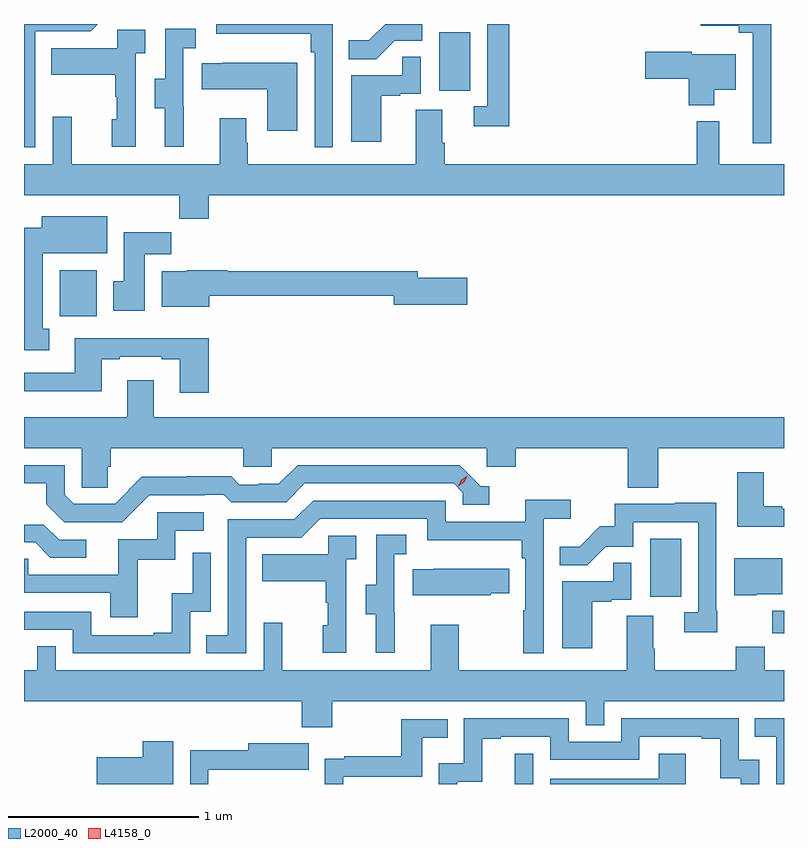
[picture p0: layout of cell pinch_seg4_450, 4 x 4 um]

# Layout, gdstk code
import gdstk
lib = gdstk.Library(unit=1e-6, precision=1e-09)
def R(c, l, rs):  # rectangles x0, y0, x1, y1
    for r in rs: c.add(gdstk.rectangle(r[:2], r[2:], *l))
def P(c, l, *ps):  # polygons
    for p in ps: c.add(gdstk.Polygon(p, *l))
L2000_40 = (2000, 40)
L4158_0 = (4158, 0)

pinch_seg4_450 = lib.new_cell('pinch_seg4_450')
R(pinch_seg4_450, L2000_40, [(914.567,781.733,914.664,781.891), (915.922,782.526,915.983,782.644), (915.278,782.718,915.442,783.025), (912.17,784.196,912.367,784.438), (914.168,785.382,914.332,785.689)])
P(pinch_seg4_450, L2000_40, [(913.608,785.733),(912.996,785.733),(912.996,785.681),(913.492,785.681),(913.492,785.585),(913.512,785.585),(913.512,785.085),(913.608,785.085)],
  [(912.042,785.694),(912.333,785.694),(912.372,785.733),(911.983,785.733),(911.983,785.085),(912.042,785.085)],
  [(915.916,785.733),(915.546,785.733),(915.546,785.723),(915.746,785.723),(915.746,785.687),(915.819,785.687),(915.819,785.106),(915.916,785.106)],
  [(914.537,785.733),(914.421,785.733),(914.421,785.301),(914.349,785.301),(914.349,785.196),(914.537,785.196)],
  [(913.935,785.646),(914.079,785.646),(914.079,785.733),(913.883,785.733),(913.797,785.647),(913.693,785.647),(913.693,785.548),(913.837,785.548)],
  [(912.824,785.301),(912.822,785.301),(912.822,785.605),(912.886,785.605),(912.886,785.708),(912.726,785.708),(912.726,785.445),(912.671,785.445),(912.671,785.29),(912.725,785.29),(912.725,785.088),(912.824,785.088)],
  [(912.57,785.579),(912.622,785.579),(912.622,785.703),(912.474,785.703),(912.474,785.605),(912.127,785.605),(912.127,785.465),(912.462,785.465),(912.462,785.351),(912.472,785.351),(912.472,785.232),(912.446,785.232),(912.446,785.088),(912.57,785.088)],
  [(915.616,785.387),(915.73,785.387),(915.73,785.575),(915.498,785.575),(915.498,785.588),(915.252,785.588),(915.252,785.446),(915.482,785.446),(915.482,785.306),(915.616,785.306)],
  [(913.864,785.355),(913.964,785.355),(913.964,785.367),(914.07,785.367),(914.07,785.561),(913.975,785.561),(913.975,785.463),(913.706,785.463),(913.706,785.112),(913.864,785.112)],
  [(913.42,785.53),(913.027,785.53),(913.027,785.527),(912.919,785.527),(912.919,785.39),(913.262,785.39),(913.262,785.172),(913.42,785.172)],
  [(912.956,784.832),(915.983,784.832),(915.983,784.996),(915.641,784.996),(915.641,785.221),(915.523,785.221),(915.523,784.996),(914.198,784.996),(914.198,785.108),(914.185,785.108),(914.185,785.282),(914.045,785.282),(914.045,784.996),(913.161,784.996),(913.161,785.108),(913.153,785.108),(913.153,785.236),(913.013,785.236),(913.013,784.996),(912.233,784.996),(912.233,785.245),(912.135,785.245),(912.135,784.996),(911.983,784.996),(911.983,784.832),(912.799,784.832),(912.799,784.708),(912.956,784.708)],
  [(912.115,784.13),(912.082,784.13),(912.082,784.526),(912.421,784.526),(912.421,784.72),(912.077,784.72),(912.077,784.66),(911.983,784.66),(911.983,784.017),(912.115,784.017)],
  [(912.619,784.52),(912.758,784.52),(912.758,784.638),(912.509,784.638),(912.509,784.38),(912.452,784.38),(912.452,784.224),(912.619,784.224)],
  [(912.958,784.303),(913.928,784.303),(913.928,784.256),(914.317,784.256),(914.317,784.398),(914.056,784.398),(914.056,784.432),(913.054,784.432),(913.054,784.438),(912.84,784.438),(912.84,784.432),(912.707,784.432),(912.707,784.244),(912.958,784.244)],
  [(912.956,784.078),(912.251,784.078),(912.251,783.897),(911.983,783.897),(911.983,783.8),(912.391,783.8),(912.391,783.969),(912.487,783.969),(912.487,783.981),(912.707,783.981),(912.707,783.969),(912.803,783.969),(912.803,783.792),(912.956,783.792)],
  [(912.425,783.402),(912.44,783.402),(912.44,783.5),(913.137,783.5),(913.137,783.402),(913.287,783.402),(913.287,783.5),(914.418,783.5),(914.418,783.402),(914.57,783.402),(914.57,783.5),(915.161,783.5),(915.161,783.292),(915.321,783.292),(915.321,783.5),(915.983,783.5),(915.983,783.664),(912.667,783.664),(912.667,783.859),(912.527,783.859),(912.527,783.664),(911.983,783.664),(911.983,783.5),(912.288,783.5),(912.288,783.292),(912.425,783.292)],
  [(912.642,783.252),(912.935,783.252),(912.935,783.255),(913.034,783.255),(913.073,783.216),(913.362,783.216),(913.461,783.315),(914.244,783.315),(914.292,783.267),(914.292,783.204),(914.431,783.204),(914.431,783.3),(914.388,783.3),(914.277,783.411),(913.424,783.411),(913.325,783.312),(913.218,783.312),(913.218,783.309),(913.115,783.309),(913.073,783.352),(912.84,783.352),(912.84,783.349),(912.604,783.349),(912.462,783.207),(912.246,783.207),(912.198,783.255),(912.198,783.411),(911.983,783.411),(911.983,783.315),(912.101,783.315),(912.101,783.205),(912.195,783.111),(912.501,783.111)],
  [(915.983,783.183),(915.973,783.183),(915.973,783.196),(915.877,783.196),(915.877,783.373),(915.737,783.373),(915.737,783.086),(915.983,783.086)],
  [(913.152,783.03),(913.443,783.03),(913.542,783.129),(914.106,783.129),(914.106,783.017),(914.602,783.017),(914.602,782.921),(914.622,782.921),(914.622,782.648),(914.61,782.648),(914.61,782.421),(914.718,782.421),(914.718,783.128),(914.86,783.128),(914.86,783.23),(914.621,783.23),(914.621,783.114),(914.202,783.114),(914.202,783.225),(913.505,783.225),(913.406,783.126),(913.056,783.126),(913.056,782.517),(912.943,782.517),(912.943,782.421),(913.152,782.421)],
  [(915.632,782.644),(915.627,782.644),(915.627,783.212),(915.409,783.212),(915.409,783.207),(915.091,783.207),(915.091,783.09),(915.014,783.09),(914.907,782.983),(914.803,782.983),(914.803,782.884),(914.947,782.884),(915.045,782.982),(915.189,782.982),(915.189,783.111),(915.531,783.111),(915.531,782.637),(915.459,782.637),(915.459,782.532),(915.632,782.532)],
  [(912.581,782.913),(912.78,782.913),(912.78,783.066),(912.928,783.066),(912.928,783.162),(912.684,783.162),(912.684,783.021),(912.479,783.021),(912.479,782.835),(912.005,782.835),(912.005,782.919),(911.983,782.919),(911.983,782.739),(912.437,782.739),(912.437,782.61),(912.581,782.61)],
  [(912.31,783.018),(912.168,783.018),(912.088,783.098),(911.983,783.098),(911.983,783.006),(912.041,783.006),(912.122,782.925),(912.31,782.925)],
  [(913.934,782.637),(913.932,782.637),(913.932,782.941),(913.996,782.941),(913.996,783.044),(913.836,783.044),(913.836,782.781),(913.781,782.781),(913.781,782.626),(913.835,782.626),(913.835,782.424),(913.934,782.424)],
  [(913.68,782.915),(913.732,782.915),(913.732,783.039),(913.584,783.039),(913.584,782.941),(913.237,782.941),(913.237,782.801),(913.572,782.801),(913.572,782.687),(913.582,782.687),(913.582,782.568),(913.556,782.568),(913.556,782.424),(913.68,782.424)],
  [(912.858,782.64),(912.966,782.64),(912.966,782.95),(912.87,782.95),(912.87,782.738),(912.761,782.738),(912.761,782.53),(912.665,782.53),(912.665,782.517),(912.336,782.517),(912.336,782.64),(911.983,782.64),(911.983,782.544),(912.24,782.544),(912.24,782.421),(912.858,782.421)],
  [(915.84,782.732),(915.973,782.732),(915.973,782.92),(915.722,782.92),(915.722,782.726),(915.84,782.726)],
  [(914.974,782.691),(915.074,782.691),(915.074,782.703),(915.18,782.703),(915.18,782.897),(915.085,782.897),(915.085,782.799),(914.816,782.799),(914.816,782.448),(914.974,782.448)],
  [(914.439,782.737),(914.537,782.737),(914.537,782.866),(914.137,782.866),(914.137,782.863),(914.029,782.863),(914.029,782.726),(914.439,782.726)],
  [(913.605,782.168),(914.94,782.168),(914.94,782.041),(915.036,782.041),(915.036,782.168),(915.983,782.168),(915.983,782.332),(915.881,782.332),(915.881,782.456),(915.73,782.456),(915.73,782.332),(915.303,782.332),(915.303,782.444),(915.295,782.444),(915.295,782.618),(915.155,782.618),(915.155,782.332),(914.271,782.332),(914.271,782.572),(914.123,782.572),(914.123,782.332),(913.343,782.332),(913.343,782.581),(913.245,782.581),(913.245,782.332),(912.15,782.332),(912.15,782.459),(912.054,782.459),(912.054,782.332),(911.983,782.332),(911.983,782.168),(913.445,782.168),(913.445,782.033),(913.605,782.033)],
  [(914.262,781.745),(914.395,781.745),(914.395,781.971),(914.491,781.971),(914.491,781.983),(914.754,781.983),(914.754,781.86),(915.222,781.86),(915.222,781.983),(915.551,781.983),(915.551,781.971),(915.647,781.971),(915.647,781.763),(915.756,781.763),(915.756,781.733),(915.852,781.733),(915.852,781.86),(915.744,781.86),(915.744,782.079),(915.126,782.079),(915.126,781.956),(914.85,781.956),(914.85,782.079),(914.298,782.079),(914.298,781.843),(914.166,781.843),(914.166,781.733),(914.262,781.733)],
  [(915.983,782.079),(915.829,782.079),(915.829,781.983),(915.942,781.983),(915.942,781.733),(915.983,781.733)],
  [(913.662,781.77),(914.079,781.77),(914.079,781.976),(914.213,781.976),(914.213,782.073),(913.968,782.073),(913.968,781.879),(913.669,781.879),(913.669,781.867),(913.566,781.867),(913.566,781.733),(913.662,781.733)],
  [(912.769,781.957),(912.608,781.957),(912.608,781.875),(912.366,781.875),(912.366,781.733),(912.769,781.733)],
  [(912.954,781.809),(913.267,781.809),(913.267,781.808),(913.481,781.808),(913.481,781.948),(913.163,781.948),(913.163,781.91),(912.858,781.91),(912.858,781.733),(912.954,781.733)],
  [(915.467,781.891),(915.323,781.891),(915.323,781.761),(914.754,781.761),(914.754,781.733),(915.467,781.733)])
P(pinch_seg4_450, L4158_0, [(914.268,783.301),(914.268,783.302),(914.284,783.334),(914.314,783.354),(914.315,783.354),(914.315,783.354),(914.299,783.321),(914.268,783.301)])

lib.write_gds('pinch_seg4_450.gds')
